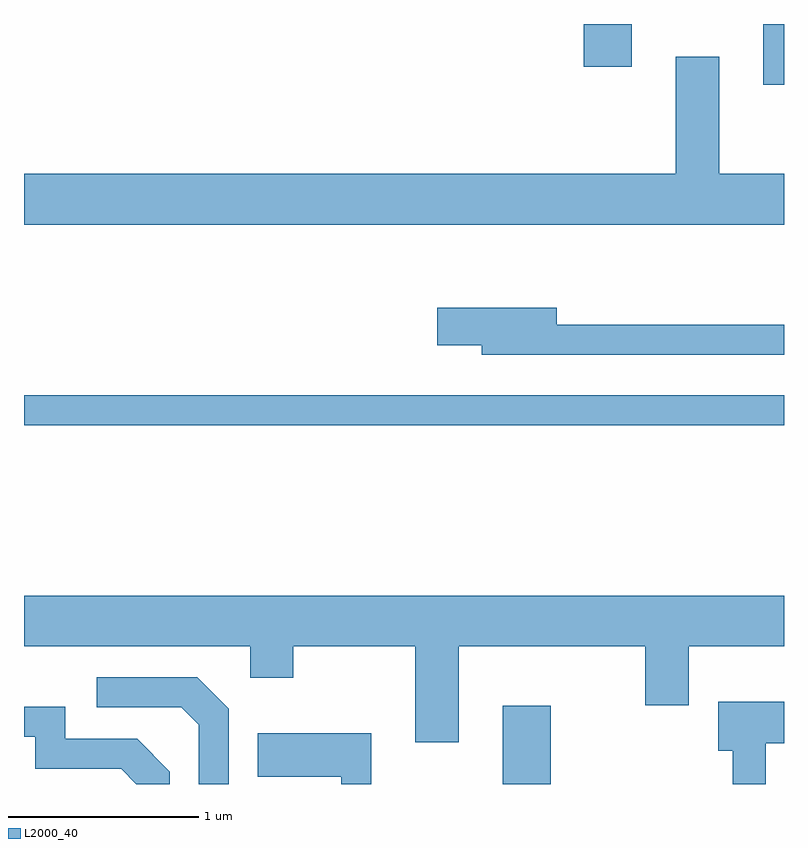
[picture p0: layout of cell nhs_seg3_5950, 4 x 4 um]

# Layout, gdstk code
import gdstk
lib = gdstk.Library(unit=1e-6, precision=1e-09)
def R(c, l, rs):  # rectangles x0, y0, x1, y1
    for r in rs: c.add(gdstk.rectangle(r[:2], r[2:], *l))
def P(c, l, *ps):  # polygons
    for p in ps: c.add(gdstk.Polygon(p, *l))
L2000_40 = (2000, 40)

nhs_seg3_5950 = lib.new_cell('nhs_seg3_5950')
R(nhs_seg3_5950, L2000_40, [(362.131,1191.892,362.384,1192.304), (359.611,1193.781,363.611,1193.939), (363.501,1195.571,363.611,1195.892), (362.556,1195.666,362.809,1195.892)])
P(nhs_seg3_5950, L2000_40, [(363.611,1195.104),(363.269,1195.104),(363.269,1195.719),(363.041,1195.719),(363.041,1195.104),(359.611,1195.104),(359.611,1194.836),(363.611,1194.836)],
  [(363.611,1194.309),(362.414,1194.309),(362.414,1194.399),(361.786,1194.399),(361.786,1194.201),(362.021,1194.201),(362.021,1194.151),(363.611,1194.151)],
  [(361.899,1192.616),(362.881,1192.616),(362.881,1192.306),(363.109,1192.306),(363.109,1192.616),(363.611,1192.616),(363.611,1192.884),(359.611,1192.884),(359.611,1192.616),(360.801,1192.616),(360.801,1192.451),(361.029,1192.451),(361.029,1192.616),(361.671,1192.616),(361.671,1192.111),(361.899,1192.111)],
  [(360.689,1192.287),(360.522,1192.454),(359.993,1192.454),(359.993,1192.296),(360.439,1192.296),(360.531,1192.204),(360.531,1191.892),(360.689,1191.892)],
  [(363.514,1192.106),(363.611,1192.106),(363.611,1192.324),(363.266,1192.324),(363.266,1192.066),(363.341,1192.066),(363.341,1191.892),(363.514,1191.892)],
  [(360.379,1191.957),(360.207,1192.129),(359.829,1192.129),(359.829,1192.299),(359.611,1192.299),(359.611,1192.141),(359.671,1192.141),(359.671,1191.971),(360.124,1191.971),(360.203,1191.892),(360.379,1191.892)],
  [(361.439,1192.159),(360.841,1192.159),(360.841,1191.931),(361.281,1191.931),(361.281,1191.892),(361.439,1191.892)])

lib.write_gds('nhs_seg3_5950.gds')
